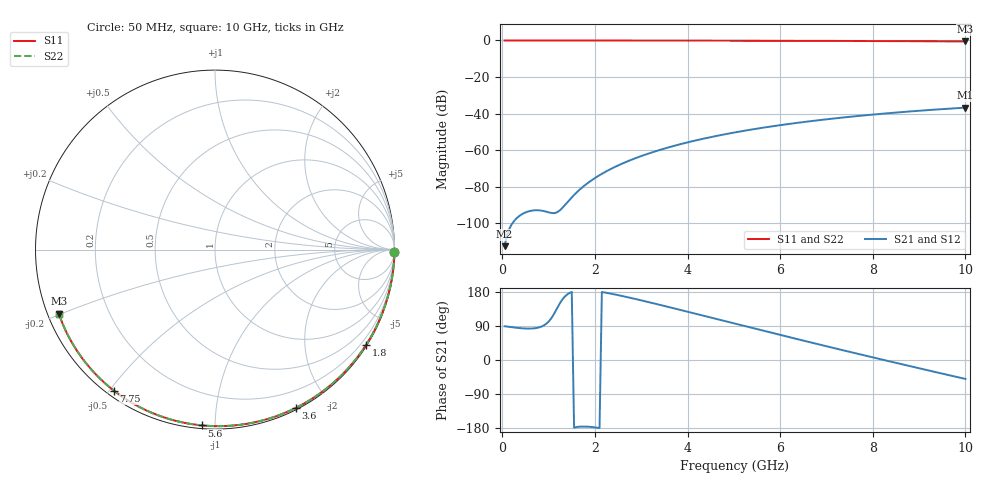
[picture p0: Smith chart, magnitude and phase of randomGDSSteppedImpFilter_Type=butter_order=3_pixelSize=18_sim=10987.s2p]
! freq	dB(S11)	phase(S11)	dB(S12)	phase(S12)
!  dB(S21)	phase(S21)	dB(S22)	phase(S22)
!S-par simulation data
#  GHz  S  DB  R 50
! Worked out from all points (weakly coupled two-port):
!   200 points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, 50 MHz to 10 GHz, reference 50 ohm
!   highest |S21| = -36.74 dB at 10 GHz (marker M1); lowest = -112.5 dB at 50 MHz (marker M2)
!   lowest |S11| = -0.5 dB at 10 GHz (marker M3), VSWR 32.80, Z = 1.58 - j9.87 ohm
!   |S11| at or under -10 dB: nowhere
!   |S22| runs from -0.5 to 0.0 dB; largest |S21 - S12| = 0
!   S11 on the Smith chart (normalised r, x): 50 MHz: open; 1.8 GHz: 0.03, -3.45; 3.6 GHz: 0.02, -1.64; 5.6 GHz: 0.02, -0.93; 7.75 GHz: 0.02, -0.51; 10 GHz: 0.03, -0.20
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0.05  -0.00 -0.9  -112.49 89.1  -112.49 89.1  -0.00 -0.9
0.45  -0.01 -8.2  -94.65 83.4  -94.65 83.4  -0.01 -8.2
0.9  -0.02 -16.3  -93.32 91.5  -93.32 91.5  -0.02 -16.3
1.3  -0.03 -23.5  -91.48 160.2  -91.48 160.2  -0.03 -23.5
1.75  -0.04 -31.4  -79.85 -175.6  -79.85 -175.6  -0.04 -31.4
1.8  -0.04 -32.3  -78.84 -175.7  -78.84 -175.7  -0.04 -32.3
1.95  -0.04 -34.9  -76.09 -177.1  -76.09 -177.1  -0.04 -34.9
2.1  -0.05 -37.5  -73.67 -179.6  -73.67 -179.6  -0.05 -37.5
2.3  -0.05 -41.0  -70.84 176.2  -70.84 176.2  -0.05 -41.0
2.5  -0.06 -44.4  -68.36 171.2  -68.36 171.2  -0.06 -44.4
2.9  -0.07 -51.2  -64.14 160.3  -64.14 160.3  -0.07 -51.2
3.4  -0.08 -59.6  -59.87 145.6  -59.87 145.6  -0.08 -59.6
3.6  -0.08 -62.9  -58.39 139.6  -58.39 139.6  -0.08 -62.9
4.3  -0.11 -74.2  -53.95 118.2  -53.95 118.2  -0.11 -74.2
5.05  -0.13 -85.9  -50.15 95.2  -50.15 95.2  -0.13 -85.9
5.6  -0.16 -94.3  -47.82 78.4  -47.82 78.4  -0.16 -94.3
6.15  -0.18 -102.5  -45.79 61.7  -45.79 61.7  -0.18 -102.5
6.7  -0.22 -110.5  -44.00 45.2  -44.00 45.2  -0.22 -110.5
7.75  -0.29 -125.6  -41.13 14.2  -41.13 14.2  -0.29 -125.6
8.35  -0.34 -134.1  -39.75 -3.2  -39.75 -3.2  -0.34 -134.1
9.2  -0.43 -146.1  -38.06 -27.5  -38.06 -27.5  -0.43 -146.1
10  -0.53 -157.7  -36.74 -49.9  -36.74 -49.9  -0.53 -157.7
